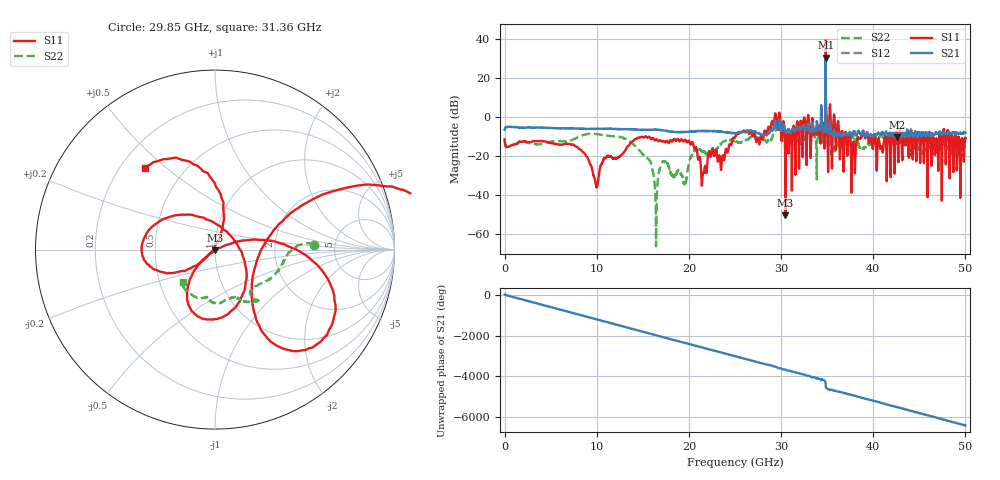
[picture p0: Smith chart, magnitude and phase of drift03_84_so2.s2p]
!Created with skrf (http://scikit-rf.org).
# Hz S RI R 50.0
!freq ReS11 ImS11 ReS21 ImS21 ReS12 ImS12 ReS22 ImS22
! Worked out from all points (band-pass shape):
!   10001 points, 300 kHz to 50 GHz, reference 50 ohm
!   highest |S21| = 30.36 dB at 34.85 GHz (marker M1); lowest = -10.4 dB at 42.56 GHz (marker M2)
!   |S21| within 3 dB of the highest: 34.84382 GHz to 34.84589 GHz (2.067 MHz wide, 0.00593 % of centre)
!   lowest |S11| = -50.3 dB at 30.47 GHz (marker M3), VSWR 1.01, Z = 50 - j0.306 ohm
!   |S11| at or under -10 dB: start of sweep to 15.23 GHz; 15.31 GHz to 25.05 GHz (9.737 GHz wide, 48.2 % of centre); 40.22 GHz to 41.6 GHz (1.379 GHz wide, 3.37 % of centre) (the widest 3 of 50)
!   |S22| runs from -66.1 to 21.3 dB; largest |S21 - S12| = 4.5
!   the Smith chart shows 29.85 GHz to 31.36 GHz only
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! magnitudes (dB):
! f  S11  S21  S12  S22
! 300 kHz  -11.4  -6.5  -6.5  -11.4
! 8.335 GHz  -17.1  -6.0  -6.0  -9.6
! 9.955 GHz  -35.9  -6.1  -6.1  -8.7
! 10.91 GHz  -21.0  -6.0  -6.0  -9.4
! 13.85 GHz  -12.5  -6.3  -6.3  -13.4
! 16.67 GHz  -12.3  -6.5  -6.5  -30.5
! 17.33 GHz  -12.7  -6.9  -6.9  -23.0
! 19.56 GHz  -11.6  -7.6  -7.6  -34.2
! 20.21 GHz  -13.9  -7.4  -7.4  -20.6
! 21.55 GHz  -28.7  -7.2  -7.2  -17.7
! 25 GHz  -10.6  -8.2  -8.2  -12.6
! 27.51 GHz  -11.0  -8.3  -8.3  -10.7
! 29.6 GHz  -5.5  -5.7  -5.9  -7.8
! 30.47 GHz  -50.3  -7.2  -7.2  -9.0
! 33.34 GHz  -3.7  -6.7  -6.6  -9.3
! 34.85 GHz  39.2  30.4  30.2  21.3
! 35.63 GHz  -5.8  -9.4  -9.3  -15.9
! 37.83 GHz  -12.8  -8.2  -8.2  -9.6
! 39.07 GHz  -10.2  -9.3  -9.5  -15.4
! 41.67 GHz  -9.1  -9.4  -9.3  -11.3
! 42.56 GHz  -8.3  -10.4  -10.4  -13.3
! 50 GHz  -10.7  -8.1  -8.1  -15.4
